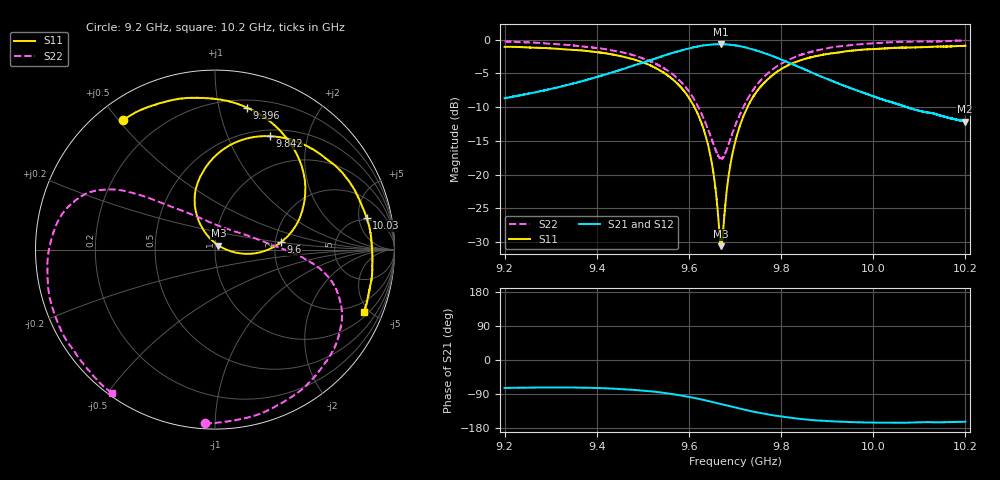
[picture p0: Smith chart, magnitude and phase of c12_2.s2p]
!Agilent Technologies,N5242A,MY51221714,A.09.90.19
!Agilent N5242A: A.09.90.19
!Date: Saturday, December 30, 2023 10:45:27
!Correction: S11(Full 2 Port(1,2))
!S21(Full 2 Port(1,2))
!S12(Full 2 Port(1,2))
!S22(Full 2 Port(1,2))
!S2P File: Measurements: S11, S21, S12, S22:
# Hz S  dB  R 50
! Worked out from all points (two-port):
!   16001 points, 9.2 GHz to 10.2 GHz, reference 50 ohm
!   highest |S21| = -0.68 dB at 9.669 GHz (marker M1); lowest = -12.1 dB at 10.2 GHz (marker M2)
!   |S21| within 3 dB of the highest: 9.486815 GHz to 9.487065 GHz (250.3 kHz wide, 0.00264 % of centre); 9.487 GHz to 9.826 GHz (338.3 MHz wide, 3.5 % of centre)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
!   lowest |S11| = -30.6 dB at 9.67 GHz (marker M3), VSWR 1.06, Z = 51.9 + j2.34 ohm
!   |S11| at or under -10 dB: 9.612 GHz to 9.727 GHz (114.8 MHz wide, 1.19 % of centre)
!   |S22| runs from -17.7 to -0.1 dB; largest |S21 - S12| = 0.015
!   S11 on the Smith chart (normalised r, x): 9.2 GHz: 0.08, +0.52; 9.396 GHz: 0.26, +1.22; 9.6 GHz: 2.15, +0.21; 9.842 GHz: 0.58, +1.43; 10.03 GHz: 4.61, +6.38; 10.2 GHz: 1.25, -4.61
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9.2e9  -1.07 125.2  -8.68 -73.8  -8.66 -74.6  -0.26 -93.3
9.275125e9  -1.23 108.0  -7.69 -72.8  -7.66 -73.3  -0.49 -72.9
9.366688e9  -1.61 85.3  -6.18 -73.0  -6.16 -73.8  -1.01 -49.2
9.396062e9  -1.82 77.3  -5.61 -73.7  -5.60 -74.5  -1.22 -41.8
9.464562e9  -2.65 57.0  -4.18 -77.4  -4.19 -78.2  -2.02 -26.6
9.533375e9  -4.41 33.3  -2.65 -84.8  -2.65 -85.5  -3.76 -13.6
9.600125e9  -8.64 6.4  -1.31 -97.4  -1.29 -98.2  -7.67 -1.4
9.643062e9  -16.07 -8.3  -0.77 -108.6  -0.76 -109.3  -13.56 20.3
9.654875e9  -20.56 -6.7  -0.70 -111.9  -0.70 -112.7  -15.80 35.6
9.668688e9  -30.03 40.7  -0.68 -116.0  -0.67 -116.7  -17.59 66.1
9.669625e9  -30.58 49.7  -0.68 -116.3  -0.68 -116.9  -17.61 68.9
9.687125e9  -19.70 119.6  -0.75 -121.4  -0.73 -122.1  -15.27 108.0
9.7e9  -15.30 119.7  -0.85 -125.2  -0.82 -126.0  -12.83 122.2
9.750625e9  -7.40 100.1  -1.71 -138.8  -1.68 -139.6  -6.43 142.5
9.797125e9  -4.49 80.8  -2.85 -148.6  -2.86 -149.4  -3.69 149.2
9.841625e9  -3.08 64.2  -4.13 -155.4  -4.13 -156.2  -2.29 155.5
9.866688e9  -2.58 55.7  -4.87 -158.5  -4.87 -159.2  -1.79 159.4
9.95e9  -1.66 31.8  -7.16 -163.7  -7.15 -164.5  -0.83 175.1
1.0032e10  -1.28 11.8  -9.12 -165.3  -9.11 -166.1  -0.42 -167.0
1.003338e10  -1.27 11.4  -9.15 -165.3  -9.13 -166.1  -0.41 -166.6
1.019894e10  -0.93 -22.6  -12.14 -163.1  -12.10 -163.8  -0.14 -125.9
1.02e10  -0.92 -22.9  -12.13 -163.0  -12.12 -163.9  -0.14 -125.7
